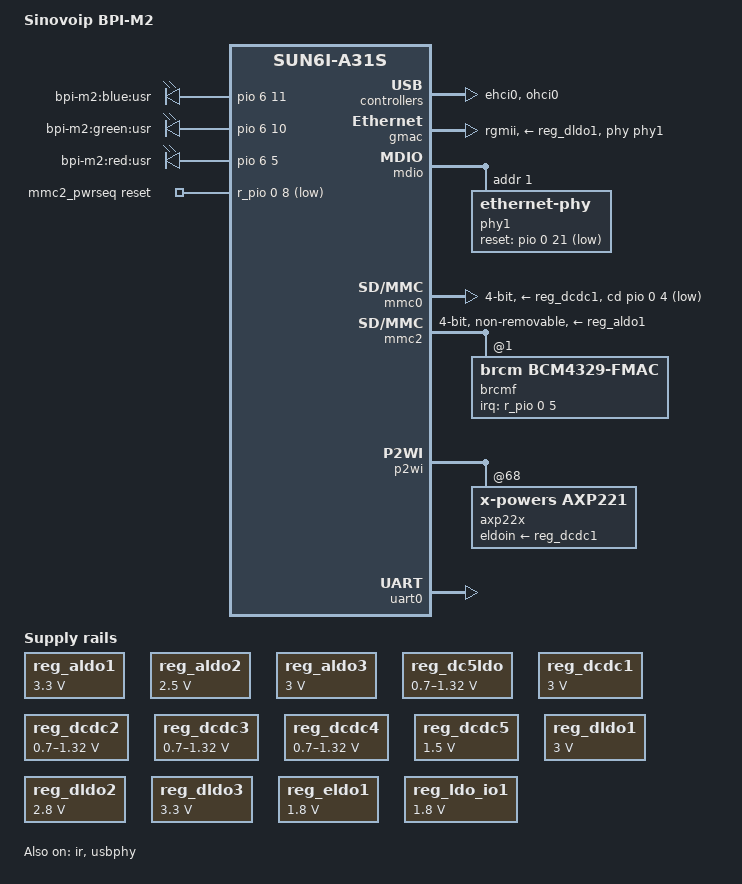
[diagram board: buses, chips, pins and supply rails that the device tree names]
/*
 * Copyright 2015 Hans de Goede <hdegoede@redhat.com>
 *
 * This file is dual-licensed: you can use it either under the terms
 * of the GPL or the X11 license, at your option. Note that this dual
 * licensing only applies to this file, and not this project as a
 * whole.
 *
 *  a) This library is free software; you can redistribute it and/or
 *     modify it under the terms of the GNU General Public License as
 *     published by the Free Software Foundation; either version 2 of the
 *     License, or (at your option) any later version.
 *
 *     This library is distributed in the hope that it will be useful,
 *     but WITHOUT ANY WARRANTY; without even the implied warranty of
 *     MERCHANTABILITY or FITNESS FOR A PARTICULAR PURPOSE.  See the
 *     GNU General Public License for more details.
 *
 * Or, alternatively,
 *
 *  b) Permission is hereby granted, free of charge, to any person
 *     obtaining a copy of this software and associated documentation
 *     files (the "Software"), to deal in the Software without
 *     restriction, including without limitation the rights to use,
 *     copy, modify, merge, publish, distribute, sublicense, and/or
 *     sell copies of the Software, and to permit persons to whom the
 *     Software is furnished to do so, subject to the following
 *     conditions:
 *
 *     The above copyright notice and this permission notice shall be
 *     included in all copies or substantial portions of the Software.
 *
 *     THE SOFTWARE IS PROVIDED "AS IS", WITHOUT WARRANTY OF ANY KIND,
 *     EXPRESS OR IMPLIED, INCLUDING BUT NOT LIMITED TO THE WARRANTIES
 *     OF MERCHANTABILITY, FITNESS FOR A PARTICULAR PURPOSE AND
 *     NONINFRINGEMENT. IN NO EVENT SHALL THE AUTHORS OR COPYRIGHT
 *     HOLDERS BE LIABLE FOR ANY CLAIM, DAMAGES OR OTHER LIABILITY,
 *     WHETHER IN AN ACTION OF CONTRACT, TORT OR OTHERWISE, ARISING
 *     FROM, OUT OF OR IN CONNECTION WITH THE SOFTWARE OR THE USE OR
 *     OTHER DEALINGS IN THE SOFTWARE.
 */

/dts-v1/;
#include "sun6i-a31s.dtsi"
#include <dt-bindings/gpio/gpio.h>

/ {
	model = "Sinovoip BPI-M2";
	compatible = "sinovoip,bpi-m2", "allwinner,sun6i-a31s";

	aliases {
		serial0 = &uart0;
	};

	chosen {
		stdout-path = "serial0:115200n8";
	};

	leds {
		compatible = "gpio-leds";

		led-0 {
			label = "bpi-m2:blue:usr";
			gpios = <&pio 6 11 GPIO_ACTIVE_HIGH>; /* PG11 */
		};

		led-1 {
			label = "bpi-m2:green:usr";
			gpios = <&pio 6 10 GPIO_ACTIVE_HIGH>; /* PG10 */
		};

		led-2 {
			label = "bpi-m2:red:usr";
			gpios = <&pio 6 5 GPIO_ACTIVE_HIGH>; /* PG5 */
		};
	};

	mmc2_pwrseq: pwrseq {
		compatible = "mmc-pwrseq-simple";
		reset-gpios = <&r_pio 0 8 GPIO_ACTIVE_LOW>; /* PL8 WIFI_EN */
	};
};

&cpu0 {
	cpu-supply = <&reg_dcdc3>;
};

&ehci0 {
	status = "okay";
};

&gmac {
	pinctrl-names = "default";
	pinctrl-0 = <&gmac_rgmii_pins>;
	phy-handle = <&phy1>;
	phy-mode = "rgmii";
	phy-supply = <&reg_dldo1>;
	status = "okay";
};

&ir {
	pinctrl-names = "default";
	pinctrl-0 = <&s_ir_rx_pin>;
	status = "okay";
};

&mdio {
	phy1: ethernet-phy@1 {
		reg = <1>;
		reset-gpios = <&pio 0 21 GPIO_ACTIVE_LOW>; /* PA21 */
		reset-assert-us = <10000>;
		reset-deassert-us = <30000>;
	};
};

&mmc0 {
	vmmc-supply = <&reg_dcdc1>;
	bus-width = <4>;
	cd-gpios = <&pio 0 4 GPIO_ACTIVE_LOW>; /* PA4 */
	status = "okay";
};

&mmc2 {
	pinctrl-names = "default";
	pinctrl-0 = <&mmc2_4bit_pins>;
	vmmc-supply = <&reg_aldo1>;
	mmc-pwrseq = <&mmc2_pwrseq>;
	bus-width = <4>;
	non-removable;
	status = "okay";

	brcmf: wifi@1 {
		reg = <1>;
		compatible = "brcm,bcm4329-fmac";
		interrupt-parent = <&r_pio>;
		interrupts = <0 5 IRQ_TYPE_LEVEL_LOW>; /* PL5 */
		interrupt-names = "host-wake";
	};
};

&ohci0 {
	status = "okay";
};

&p2wi {
	status = "okay";

	axp22x: pmic@68 {
		compatible = "x-powers,axp221";
		reg = <0x68>;
		interrupt-parent = <&r_intc>;
		interrupts = <GIC_SPI 32 IRQ_TYPE_LEVEL_LOW>;
		eldoin-supply = <&reg_dcdc1>;
		x-powers,drive-vbus-en;
	};
};

#include "axp22x.dtsi"

&reg_aldo1 {
	regulator-min-microvolt = <3300000>;
	regulator-max-microvolt = <3300000>;
	regulator-name = "vcc-wifi";
};

&reg_aldo2 {
	regulator-always-on;
	regulator-min-microvolt = <2500000>;
	regulator-max-microvolt = <2500000>;
	regulator-name = "vcc-gmac";
};

&reg_aldo3 {
	regulator-always-on;
	regulator-min-microvolt = <3000000>;
	regulator-max-microvolt = <3000000>;
	regulator-name = "avcc";
};

&reg_dc5ldo {
	regulator-always-on;
	regulator-min-microvolt = <700000>;
	regulator-max-microvolt = <1320000>;
	regulator-name = "vdd-cpus";
};

&reg_dcdc1 {
	regulator-always-on;
	regulator-min-microvolt = <3000000>;
	regulator-max-microvolt = <3000000>;
	regulator-name = "vdd-3v0";
};

&reg_dcdc2 {
	regulator-min-microvolt = <700000>;
	regulator-max-microvolt = <1320000>;
	regulator-name = "vdd-gpu";
};

&reg_dcdc3 {
	regulator-always-on;
	regulator-min-microvolt = <700000>;
	regulator-max-microvolt = <1320000>;
	regulator-name = "vdd-cpu";
};

&reg_dcdc4 {
	regulator-always-on;
	regulator-min-microvolt = <700000>;
	regulator-max-microvolt = <1320000>;
	regulator-name = "vdd-sys-dll";
};

&reg_dcdc5 {
	regulator-always-on;
	regulator-min-microvolt = <1500000>;
	regulator-max-microvolt = <1500000>;
	regulator-name = "vcc-dram";
};

&reg_dldo1 {
	regulator-min-microvolt = <3000000>;
	regulator-max-microvolt = <3000000>;
	regulator-name = "vcc-mac";
};

&reg_dldo2 {
	regulator-min-microvolt = <2800000>;
	regulator-max-microvolt = <2800000>;
	regulator-name = "avdd-csi";
};

&reg_dldo3 {
	regulator-always-on;
	regulator-min-microvolt = <3300000>;
	regulator-max-microvolt = <3300000>;
	regulator-name = "vcc-pb";
};

&reg_eldo1 {
	regulator-min-microvolt = <1800000>;
	regulator-max-microvolt = <1800000>;
	regulator-name = "vdd-csi";
	status = "okay";
};

&reg_ldo_io1 {
	regulator-always-on;
	regulator-min-microvolt = <1800000>;
	regulator-max-microvolt = <1800000>;
	regulator-name = "vcc-pm-cpus";
	status = "okay";
};

&uart0 {
	pinctrl-names = "default";
	pinctrl-0 = <&uart0_ph_pins>;
	status = "okay";
};

&usbphy {
	status = "okay";
};

&pio {
	gpio-line-names =
		/* PA */
		"ETXD0", "ETXD1", "ETXD2", "ETXD3", "SDC0-DET", "", "",
		"", "ETXCLK", "ETXEN", "EGTXCLK", "ERXD0", "ERXD1",
		"ERXD2", "ERXD3", "", "", "", "", "ERXDV", "ERXCK",
		"ETXERR", "ERXERR", "ECOL", "ECRS", "ECLKIN", "EMDC",
		"EMDIO", "", "", "", "",

		/* PB */
		"CN7-P29", "CN7-P31", "CN7-P33", "CN7-P35", "CN7-P37",
		"CN7-P28", "CN7-P27", "CN7-P32", "", "", "", "", "", "",
		"", "", "", "", "", "", "", "", "", "", "", "", "", "",
		"", "", "", "",

		/* PC */
		"", "", "", "", "", "", "WL-SDIO-CMD", "WL-SDIO-CLK",
		"WL-SDIO-D0", "WL-SDIO-D2", "WL-SDIO-D2", "WL-SDIO-D3",
		"", "", "", "", "", "", "", "", "", "", "", "", "", "",
		"", "USB-DRV", "", "", "", "",

		/* PD */
		"CN9-P09", "CN9-P11", "CN9-P13", "CN9-P15", "CN9-P17",
		"CN9-P19", "CN9-P21", "CN9-P23", "CN9-P25", "CN9-P27",
		"CN9-P29", "CN9-P31", "CN9-P33", "CN9-P35", "CN9-P37",
		"CN9-P39", "CN9-P40", "CN9-P38", "CN9-P36", "CN9-P34",
		"CN9-P32", "CN9-P30", "CN9-P28", "CN9-P26", "CN9-P22",
		"CN9-P14", "CN9-P18", "CN9-P16", "", "", "", "",

		/* PE */
		"CN6-P20", "CN6-P24", "CN6-P30", "CN6-P28", "CN7-P08",
		"CN7-P10", "CN7-P36", "CN7-P38", "CN6-P17", "CN6-P19",
		"CN6-P21", "CN6-P23", "CN6-P25", "CN6-P27", "CN6-P29",
		"CN6-P31", "", "", "", "", "", "", "", "", "", "", "",
		"", "", "", "", "",

		/* PF */
		"SDC0-D1", "SDC0-D0", "SDC0-CLK", "SDC0-CMD", "SDC0-D3",
		"SDC0-D2", "", "", "", "", "", "", "", "", "", "", "",
		"", "", "", "", "", "", "", "", "", "", "", "", "", "",
		"",

		/* PG */
		"CN9-P06", "CN9-P08", "CN9-P20", "CN9-P12", "CN9-P07",
		"LED-PWR", "CN7-P13", "CN7-P11", "CN7-P22", "CN7-P15",
		"LED-G", "LED-B", "CN7-P26", "CN7-P24", "CN7-P23",
		"CN7-P19", "CN7-P21", "HCEC", "CN6-P22", "", "", "", "",
		"", "", "", "", "", "", "", "", "",

		/* PH */
		"", "", "", "", "", "", "", "", "", "CN7-P07",
		"CN7-P12", "CN7-P16", "CN7-P18", "CN9-P10", "CN6-P16",
		"CN6-P14", "CN9-P04", "CN9-P02", "CN7-P05", "CN7-P03",
		"CN8-P03", "CN8-P02", "", "", "CN6-P34", "CN6-P32",
		"CN6-P26", "CN6-P18", "", "", "", "";
};

&r_pio {
	gpio-line-names =
		/* PL */
		"PMU-SCK", "PMU-SDA", "VBAT-EN", "", "IR-RX",
		"WL-WAKE-HOST", "BT-WAKE_HOST", "BT-ENABLE",
		"WL-PMU-EN", "", "", "", "", "", "", "", "", "", "", "",
		"", "", "", "", "", "", "", "", "", "", "", "",

		/* PM */
		"CN6-P12", "CN6-P35", "CN7-P40", "", "", "", "", "", "",
		"", "", "", "", "", "", "", "", "", "", "", "", "", "",
		"", "", "", "", "", "", "", "", "";
};
